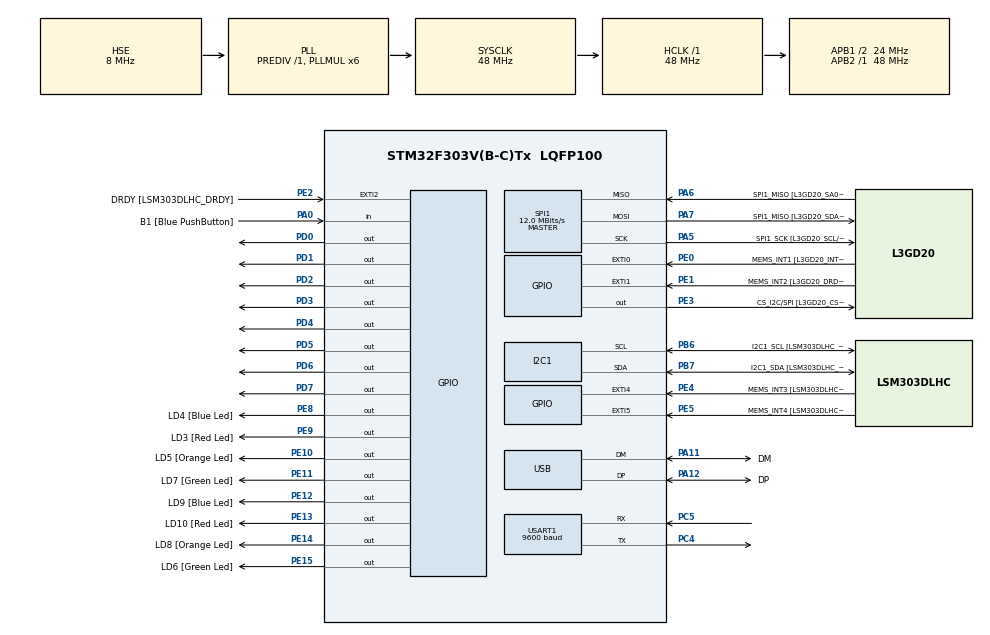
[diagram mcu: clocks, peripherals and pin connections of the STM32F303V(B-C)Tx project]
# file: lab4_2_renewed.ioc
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I2C1.Timing-I2C=0x2000090E
Mcu.Family=STM32F3
Mcu.Name=STM32F303V(B-C)Tx
Mcu.Package=LQFP100
NVIC.PriorityGroup=NVIC_PRIORITYGROUP_0
NVIC.TIM2_IRQn=true\:0\:0\:false\:false\:true\:true\:true\:true
PA0.GPIO_Label=B1 [Blue PushButton]
PA0.Signal=GPIO_Input
PA11.GPIO_Label=DM
PA11.Mode=Device
PA11.Signal=USB_DM
PA12.GPIO_Label=DP
PA12.Mode=Device
PA12.Signal=USB_DP
PA13.GPIO_Label=SWDIO
PA13.Mode=Serial_Wire
PA13.Signal=SYS_JTMS-SWDIO
PA14.GPIO_Label=SWCLK
PA14.Mode=Serial_Wire
PA14.Signal=SYS_JTCK-SWCLK
PA5.GPIO_Label=SPI1_SCK [L3GD20_SCL/SPC]
PA5.Mode=Full_Duplex_Master
PA5.Signal=SPI1_SCK
PA6.GPIO_Label=SPI1_MISO [L3GD20_SA0/SDO]
PA6.Mode=Full_Duplex_Master
PA6.Signal=SPI1_MISO
PA7.GPIO_Label=SPI1_MISO [L3GD20_SDA/SDI/SDO]
PA7.Mode=Full_Duplex_Master
PA7.Signal=SPI1_MOSI
PB3.GPIO_Label=SWO
PB3.Signal=SYS_JTDO-TRACESWO
PB6.GPIO_Label=I2C1_SCL [LSM303DLHC_SCL]
PB6.GPIO_Pu=GPIO_PULLUP
PB6.Mode=I2C
PB6.Signal=I2C1_SCL
PB7.GPIO_Label=I2C1_SDA [LSM303DLHC_SDA]
PB7.GPIO_Pu=GPIO_PULLUP
PB7.Mode=I2C
PB7.Signal=I2C1_SDA
PC14-OSC32_IN.GPIO_Label=OSC32_IN
PC14-OSC32_IN.Signal=RCC_OSC32_IN
PC15-OSC32_OUT.GPIO_Label=OSC32_OUT
PC15-OSC32_OUT.Signal=RCC_OSC32_OUT
PC4.Mode=Asynchronous
PC4.Signal=USART1_TX
PC5.Mode=Asynchronous
PC5.Signal=USART1_RX
PD0.Signal=GPIO_Output
PD1.Signal=GPIO_Output
PD2.Signal=GPIO_Output
PD3.Signal=GPIO_Output
PD4.Signal=GPIO_Output
PD5.Signal=GPIO_Output
PD6.Signal=GPIO_Output
PD7.Signal=GPIO_Output
PE0.GPIO_Label=MEMS_INT1 [L3GD20_INT1]
PE0.GPIO_ModeDefaultEXTI=GPIO_MODE_EVT_RISING
PE0.Signal=GPXTI0
PE1.GPIO_Label=MEMS_INT2 [L3GD20_DRDY/INT2]
PE1.GPIO_ModeDefaultEXTI=GPIO_MODE_EVT_RISING
PE1.Signal=GPXTI1
PE10.GPIO_Label=LD5 [Orange Led]
PE10.Signal=GPIO_Output
PE11.GPIO_Label=LD7 [Green Led]
PE11.Signal=GPIO_Output
PE12.GPIO_Label=LD9 [Blue Led]
PE12.Signal=GPIO_Output
PE13.GPIO_Label=LD10 [Red Led]
PE13.Signal=GPIO_Output
PE14.GPIO_Label=LD8 [Orange Led]
PE14.Signal=GPIO_Output
PE15.GPIO_Label=LD6 [Green Led]
PE15.Signal=GPIO_Output
PE2.GPIO_Label=DRDY [LSM303DLHC_DRDY]
PE2.GPIO_ModeDefaultEXTI=GPIO_MODE_EVT_RISING
PE2.Signal=GPXTI2
PE3.GPIO_Label=CS_I2C/SPI [L3GD20_CS_I2C/SPI]
PE3.Signal=GPIO_Output
PE4.GPIO_Label=MEMS_INT3 [LSM303DLHC_INT1]
PE4.GPIO_ModeDefaultEXTI=GPIO_MODE_EVT_RISING
PE4.Signal=GPXTI4
PE5.GPIO_Label=MEMS_INT4 [LSM303DLHC_INT2]
PE5.GPIO_ModeDefaultEXTI=GPIO_MODE_EVT_RISING
PE5.Signal=GPXTI5
PE8.GPIO_Label=LD4 [Blue Led]
PE8.Signal=GPIO_Output
PE9.GPIO_Label=LD3 [Red Led]
PE9.Signal=GPIO_Output
PF0-OSC_IN.GPIO_Label=OSC_IN
PF0-OSC_IN.Mode=HSE-External-Clock-Source
PF0-OSC_IN.Signal=RCC_OSC_IN
PF1-OSC_OUT.GPIO_Label=OSC_OUT
PF1-OSC_OUT.Signal=RCC_OSC_OUT
ProjectManager.HeapSize=0x200
ProjectManager.StackSize=0x400
ProjectManager.TargetToolchain=STM32CubeIDE
RCC.AHBFreq_Value=48000000
RCC.APB1CLKDivider=RCC_HCLK_DIV2
RCC.APB1Freq_Value=24000000
RCC.APB1TimFreq_Value=48000000
RCC.APB2Freq_Value=48000000
RCC.APB2TimFreq_Value=48000000
RCC.CortexFreq_Value=48000000
RCC.HCLKFreq_Value=48000000
RCC.HSE_VALUE=8000000
RCC.HSI_VALUE=8000000
RCC.LSE_VALUE=32768
RCC.PLLMUL=RCC_PLL_MUL6
RCC.SYSCLKFreq_VALUE=48000000
RCC.SYSCLKSourceVirtual=RCC_SYSCLKSOURCE_PLLCLK
RCC.USBFreq_Value=48000000
SPI1.BaudRatePrescaler=SPI_BAUDRATEPRESCALER_4
SPI1.BaudRatePrescaler-Full_Duplex_Master=SPI_BAUDRATEPRESCALER_2
SPI1.CalculateBaudRate=12.0 MBits/s
SPI1.CalculateBaudRate-Full_Duplex_Master=24.0 MBits/s
SPI1.Direction=SPI_DIRECTION_2LINES
SPI1.Mode=SPI_MODE_MASTER
SPI1.Mode-Full_Duplex_Master=SPI_MODE_MASTER
SPI1.VirtualType=VM_MASTER
TIM2.Period=100
TIM2.Prescaler=47
USART1.BaudRate=9600
USART1.VirtualMode-Asynchronous=VM_ASYNC
VP_TIM2_VS_ClockSourceINT.Mode=Internal
board=STM32F3DISCOVERY

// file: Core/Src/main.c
/* USER CODE BEGIN Header */
/**
  ******************************************************************************
  * @file           : main.c
  * @brief          : Main program body
  ******************************************************************************
  * @attention
  *
  * Copyright (c) 2023 STMicroelectronics.
  * All rights reserved.
  *
  * This software is licensed under terms that can be found in the LICENSE file
  * in the root directory of this software component.
  * If no LICENSE file comes with this software, it is provided AS-IS.
  *
  ******************************************************************************
  */
/* USER CODE END Header */
#include "main.h"

I2C_HandleTypeDef hi2c1;

SPI_HandleTypeDef hspi1;

TIM_HandleTypeDef htim2;

UART_HandleTypeDef huart1;

PCD_HandleTypeDef hpcd_USB_FS;

void SystemClock_Config(void);
static void MX_GPIO_Init(void);
static void MX_I2C1_Init(void);
static void MX_SPI1_Init(void);
static void MX_USB_PCD_Init(void);
static void MX_TIM2_Init(void);
static void MX_USART1_UART_Init(void);

/* USER CODE BEGIN 0 */
unsigned char data[1];
extern int count;
unsigned char buffer[20]="";
unsigned char sentence_1[20]="";
unsigned char sentence_2[20]="";
//unsigned char sentence_1[20]="hi daan its alex";
//unsigned char sentence_2[20]="hi alex Im dan";

extern int sentence_counter = 0;
extern int input_completed = 0;
extern int is_similar = 0;
extern double similarity_percentage = 0;
int position = 0;

int contains(char *string1, char *string2) {
    if (strstr(string1, string2) != NULL) {
        return 1;
    } else {
        return 0;
    }
}

double jaro_winkler_similarity(char* s1, char* s2) {
    int len1 = strlen(s1);
    int len2 = strlen(s2);

    // calculate matching distance
    int match_distance = (len1 + len2) / 2 - 1;
    int matches = 0;
    int transpositions = 0;
    for (int i = 0; i < len1; i++) {
        for (int j = i - match_distance; j <= i + match_distance; j++) {
            if (j >= 0 && j < len2 && s1[i] == s2[j]) {
                matches++;
                if (i != j) {
                    transpositions++;
                }
                break;
            }
        }
    }

    // calculate Jaro distance
    double jaro_distance = matches / (double)len1;
    if (matches == 0) {
        return jaro_distance;
    }

    // calculate Jaro-Winkler distance
    double prefix_scale_factor = 0.1;
    int prefix_length = 0;
    while (prefix_length < len1 && prefix_length < len2 && s1[prefix_length] == s2[prefix_length]) {
        prefix_length++;
    }

    double winkler_factor = prefix_scale_factor * prefix_length * (1 - jaro_distance);

    return jaro_distance + winkler_factor;
}

int countWords(unsigned char sentence[]) {
    int count = 0;
    int i = 0;
    while (sentence[i] != '\0') {
        if (sentence[i] == ' ') {
            count++;
        }
        i++;
    }
    return count + 1; // add one for the last word
}

void blink_led(int number_of_blinks){
	for (int i = 0; i < number_of_blinks; ++i) {
		HAL_GPIO_WritePin(GPIOE, GPIO_PIN_9, 1);
		HAL_Delay(500);
		HAL_GPIO_WritePin(GPIOE, GPIO_PIN_9, 0);
		HAL_Delay(1000);
	}
}

void HAL_UART_RxCpltCallback(UART_HandleTypeDef *huart){
	if (huart->Instance == USART1) {
		HAL_GPIO_TogglePin(GPIOE, GPIO_PIN_12);

		if (data[0] != 0x0D) {
			buffer[position] = data[0];
			buffer[++position] = '\0';
		}else if (data[0] == 0x0D) {
			HAL_GPIO_WritePin(GPIOE, GPIO_PIN_13, 1);
			switch(sentence_counter){
				case 0:
					strcpy(sentence_1, buffer);
					sentence_counter++;
				case 1:
					strcpy(sentence_2, buffer);
					sentence_counter++;
			}

			input_completed = 1;
			similarity_percentage = jaro_winkler_similarity(sentence_1, sentence_2) * 100;

			if(similarity_percentage >= 60){
				is_similar = 1;
			}else{
				is_similar = 0;
			}

			int number_of_words1 = countWords(sentence_1);
			int number_of_words2 = countWords(sentence_2);

			blink_led(number_of_words1);
			HAL_Delay(5000);
			blink_led(number_of_words2);

			int is_on = contains(buffer, "on");
			int is_off = contains(buffer, "off");
			if (is_on) {
				// set LED here
				HAL_GPIO_WritePin(GPIOE, GPIO_PIN_8, 1);
			}else if (is_off){
				HAL_GPIO_WritePin(GPIOE, GPIO_PIN_8, 0);
			}

			position = 0;
			memset(buffer, 0, sizeof(buffer));

		}
	}
	HAL_UART_Receive_IT(&huart1, data, 1);
}
/* USER CODE END 0 */

int main(void)
{

  /* MCU Configuration--------------------------------------------------------*/

  /* Reset of all peripherals, Initializes the Flash interface and the Systick. */
  HAL_Init();

  /* Configure the system clock */
  SystemClock_Config();

  /* Initialize all configured peripherals */
  MX_GPIO_Init();
  MX_I2C1_Init();
  MX_SPI1_Init();
  MX_USB_PCD_Init();
  MX_TIM2_Init();
  MX_USART1_UART_Init();
  /* USER CODE BEGIN 2 */
  HAL_TIM_Base_Start_IT(&htim2);

  /* USER CODE END 2 */

  /* Infinite loop */
  while (1)
  {

  }
}

void SystemClock_Config(void)
{
  RCC_OscInitTypeDef RCC_OscInitStruct = {0};
  RCC_ClkInitTypeDef RCC_ClkInitStruct = {0};
  RCC_PeriphCLKInitTypeDef PeriphClkInit = {0};

  /** Initializes the RCC Oscillators according to the specified parameters
  * in the RCC_OscInitTypeDef structure.
  */
  RCC_OscInitStruct.OscillatorType = RCC_OSCILLATORTYPE_HSI|RCC_OSCILLATORTYPE_HSE;
  RCC_OscInitStruct.HSEState = RCC_HSE_BYPASS;
  RCC_OscInitStruct.HSEPredivValue = RCC_HSE_PREDIV_DIV1;
  RCC_OscInitStruct.HSIState = RCC_HSI_ON;
  RCC_OscInitStruct.HSICalibrationValue = RCC_HSICALIBRATION_DEFAULT;
  RCC_OscInitStruct.PLL.PLLState = RCC_PLL_ON;
  RCC_OscInitStruct.PLL.PLLSource = RCC_PLLSOURCE_HSE;
  RCC_OscInitStruct.PLL.PLLMUL = RCC_PLL_MUL6;
  if (HAL_RCC_OscConfig(&RCC_OscInitStruct) != HAL_OK)
  {
    Error_Handler();
  }

  /** Initializes the CPU, AHB and APB buses clocks
  */
  RCC_ClkInitStruct.ClockType = RCC_CLOCKTYPE_HCLK|RCC_CLOCKTYPE_SYSCLK
                              |RCC_CLOCKTYPE_PCLK1|RCC_CLOCKTYPE_PCLK2;
  RCC_ClkInitStruct.SYSCLKSource = RCC_SYSCLKSOURCE_PLLCLK;
  RCC_ClkInitStruct.AHBCLKDivider = RCC_SYSCLK_DIV1;
  RCC_ClkInitStruct.APB1CLKDivider = RCC_HCLK_DIV2;
  RCC_ClkInitStruct.APB2CLKDivider = RCC_HCLK_DIV1;

  if (HAL_RCC_ClockConfig(&RCC_ClkInitStruct, FLASH_LATENCY_1) != HAL_OK)
  {
    Error_Handler();
  }
  PeriphClkInit.PeriphClockSelection = RCC_PERIPHCLK_USB|RCC_PERIPHCLK_USART1
                              |RCC_PERIPHCLK_I2C1;
  PeriphClkInit.Usart1ClockSelection = RCC_USART1CLKSOURCE_PCLK2;
  PeriphClkInit.I2c1ClockSelection = RCC_I2C1CLKSOURCE_HSI;
  PeriphClkInit.USBClockSelection = RCC_USBCLKSOURCE_PLL;
  if (HAL_RCCEx_PeriphCLKConfig(&PeriphClkInit) != HAL_OK)
  {
    Error_Handler();
  }
}

static void MX_I2C1_Init(void)
{

  hi2c1.Instance = I2C1;
  hi2c1.Init.Timing = 0x2000090E;
  hi2c1.Init.OwnAddress1 = 0;
  hi2c1.Init.AddressingMode = I2C_ADDRESSINGMODE_7BIT;
  hi2c1.Init.DualAddressMode = I2C_DUALADDRESS_DISABLE;
  hi2c1.Init.OwnAddress2 = 0;
  hi2c1.Init.OwnAddress2Masks = I2C_OA2_NOMASK;
  hi2c1.Init.GeneralCallMode = I2C_GENERALCALL_DISABLE;
  hi2c1.Init.NoStretchMode = I2C_NOSTRETCH_DISABLE;
  if (HAL_I2C_Init(&hi2c1) != HAL_OK)
  {
    Error_Handler();
  }

  /** Configure Analogue filter
  */
  if (HAL_I2CEx_ConfigAnalogFilter(&hi2c1, I2C_ANALOGFILTER_ENABLE) != HAL_OK)
  {
    Error_Handler();
  }

  /** Configure Digital filter
  */
  if (HAL_I2CEx_ConfigDigitalFilter(&hi2c1, 0) != HAL_OK)
  {
    Error_Handler();
  }

}

static void MX_SPI1_Init(void)
{

  /* SPI1 parameter configuration*/
  hspi1.Instance = SPI1;
  hspi1.Init.Mode = SPI_MODE_MASTER;
  hspi1.Init.Direction = SPI_DIRECTION_2LINES;
  hspi1.Init.DataSize = SPI_DATASIZE_4BIT;
  hspi1.Init.CLKPolarity = SPI_POLARITY_LOW;
  hspi1.Init.CLKPhase = SPI_PHASE_1EDGE;
  hspi1.Init.NSS = SPI_NSS_SOFT;
  hspi1.Init.BaudRatePrescaler = SPI_BAUDRATEPRESCALER_4;
  hspi1.Init.FirstBit = SPI_FIRSTBIT_MSB;
  hspi1.Init.TIMode = SPI_TIMODE_DISABLE;
  hspi1.Init.CRCCalculation = SPI_CRCCALCULATION_DISABLE;
  hspi1.Init.CRCPolynomial = 7;
  hspi1.Init.CRCLength = SPI_CRC_LENGTH_DATASIZE;
  hspi1.Init.NSSPMode = SPI_NSS_PULSE_ENABLE;
  if (HAL_SPI_Init(&hspi1) != HAL_OK)
  {
    Error_Handler();
  }

}

static void MX_TIM2_Init(void)
{

  TIM_ClockConfigTypeDef sClockSourceConfig = {0};
  TIM_MasterConfigTypeDef sMasterConfig = {0};

  htim2.Instance = TIM2;
  htim2.Init.Prescaler = 47;
  htim2.Init.CounterMode = TIM_COUNTERMODE_UP;
  htim2.Init.Period = 100;
  htim2.Init.ClockDivision = TIM_CLOCKDIVISION_DIV1;
  htim2.Init.AutoReloadPreload = TIM_AUTORELOAD_PRELOAD_DISABLE;
  if (HAL_TIM_Base_Init(&htim2) != HAL_OK)
  {
    Error_Handler();
  }
  sClockSourceConfig.ClockSource = TIM_CLOCKSOURCE_INTERNAL;
  if (HAL_TIM_ConfigClockSource(&htim2, &sClockSourceConfig) != HAL_OK)
  {
    Error_Handler();
  }
  sMasterConfig.MasterOutputTrigger = TIM_TRGO_RESET;
  sMasterConfig.MasterSlaveMode = TIM_MASTERSLAVEMODE_DISABLE;
  if (HAL_TIMEx_MasterConfigSynchronization(&htim2, &sMasterConfig) != HAL_OK)
  {
    Error_Handler();
  }

}

static void MX_USART1_UART_Init(void)
{

  huart1.Instance = USART1;
  huart1.Init.BaudRate = 9600;
  huart1.Init.WordLength = UART_WORDLENGTH_8B;
  huart1.Init.StopBits = UART_STOPBITS_1;
  huart1.Init.Parity = UART_PARITY_NONE;
  huart1.Init.Mode = UART_MODE_TX_RX;
  huart1.Init.HwFlowCtl = UART_HWCONTROL_NONE;
  huart1.Init.OverSampling = UART_OVERSAMPLING_16;
  huart1.Init.OneBitSampling = UART_ONE_BIT_SAMPLE_DISABLE;
  huart1.AdvancedInit.AdvFeatureInit = UART_ADVFEATURE_NO_INIT;
  if (HAL_UART_Init(&huart1) != HAL_OK)
  {
    Error_Handler();
  }

}

static void MX_USB_PCD_Init(void)
{

  hpcd_USB_FS.Instance = USB;
  hpcd_USB_FS.Init.dev_endpoints = 8;
  hpcd_USB_FS.Init.speed = PCD_SPEED_FULL;
  hpcd_USB_FS.Init.phy_itface = PCD_PHY_EMBEDDED;
  hpcd_USB_FS.Init.low_power_enable = DISABLE;
  hpcd_USB_FS.Init.battery_charging_enable = DISABLE;
  if (HAL_PCD_Init(&hpcd_USB_FS) != HAL_OK)
  {
    Error_Handler();
  }

}

static void MX_GPIO_Init(void)
{
  GPIO_InitTypeDef GPIO_InitStruct = {0};

  /* GPIO Ports Clock Enable */
  __HAL_RCC_GPIOE_CLK_ENABLE();
  __HAL_RCC_GPIOC_CLK_ENABLE();
  __HAL_RCC_GPIOF_CLK_ENABLE();
  __HAL_RCC_GPIOA_CLK_ENABLE();
  __HAL_RCC_GPIOD_CLK_ENABLE();
  __HAL_RCC_GPIOB_CLK_ENABLE();

  /*Configure GPIO pin Output Level */
  HAL_GPIO_WritePin(GPIOE, CS_I2C_SPI_Pin|LD4_Pin|LD3_Pin|LD5_Pin
                          |LD7_Pin|LD9_Pin|LD10_Pin|LD8_Pin
                          |LD6_Pin, GPIO_PIN_RESET);

  /*Configure GPIO pin Output Level */
  HAL_GPIO_WritePin(GPIOD, GPIO_PIN_0|GPIO_PIN_1|GPIO_PIN_2|GPIO_PIN_3
                          |GPIO_PIN_4|GPIO_PIN_5|GPIO_PIN_6|GPIO_PIN_7, GPIO_PIN_RESET);

  /*Configure GPIO pins : DRDY_Pin MEMS_INT3_Pin MEMS_INT4_Pin MEMS_INT1_Pin
                           MEMS_INT2_Pin */
  GPIO_InitStruct.Pin = DRDY_Pin|MEMS_INT3_Pin|MEMS_INT4_Pin|MEMS_INT1_Pin
                          |MEMS_INT2_Pin;
  GPIO_InitStruct.Mode = GPIO_MODE_EVT_RISING;
  GPIO_InitStruct.Pull = GPIO_NOPULL;
  HAL_GPIO_Init(GPIOE, &GPIO_InitStruct);

  /*Configure GPIO pins : CS_I2C_SPI_Pin LD4_Pin LD3_Pin LD5_Pin
                           LD7_Pin LD9_Pin LD10_Pin LD8_Pin
                           LD6_Pin */
  GPIO_InitStruct.Pin = CS_I2C_SPI_Pin|LD4_Pin|LD3_Pin|LD5_Pin
                          |LD7_Pin|LD9_Pin|LD10_Pin|LD8_Pin
                          |LD6_Pin;
  GPIO_InitStruct.Mode = GPIO_MODE_OUTPUT_PP;
  GPIO_InitStruct.Pull = GPIO_NOPULL;
  GPIO_InitStruct.Speed = GPIO_SPEED_FREQ_LOW;
  HAL_GPIO_Init(GPIOE, &GPIO_InitStruct);

  /*Configure GPIO pin : B1_Pin */
  GPIO_InitStruct.Pin = B1_Pin;
  GPIO_InitStruct.Mode = GPIO_MODE_INPUT;
  GPIO_InitStruct.Pull = GPIO_NOPULL;
  HAL_GPIO_Init(B1_GPIO_Port, &GPIO_InitStruct);

  /*Configure GPIO pins : PD0 PD1 PD2 PD3
                           PD4 PD5 PD6 PD7 */
  GPIO_InitStruct.Pin = GPIO_PIN_0|GPIO_PIN_1|GPIO_PIN_2|GPIO_PIN_3
                          |GPIO_PIN_4|GPIO_PIN_5|GPIO_PIN_6|GPIO_PIN_7;
  GPIO_InitStruct.Mode = GPIO_MODE_OUTPUT_PP;
  GPIO_InitStruct.Pull = GPIO_NOPULL;
  GPIO_InitStruct.Speed = GPIO_SPEED_FREQ_LOW;
  HAL_GPIO_Init(GPIOD, &GPIO_InitStruct);

}

void Error_Handler(void)
{
  __disable_irq();
  while (1)
  {
  }
}
